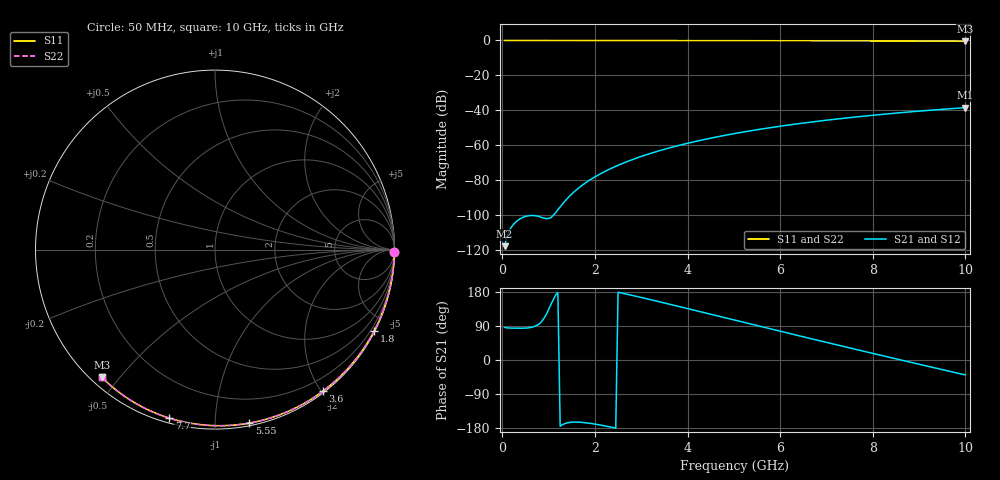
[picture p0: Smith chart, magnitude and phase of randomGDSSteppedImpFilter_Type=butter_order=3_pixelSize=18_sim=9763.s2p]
! freq	dB(S11)	phase(S11)	dB(S12)	phase(S12)
!  dB(S21)	phase(S21)	dB(S22)	phase(S22)
!S-par simulation data
#  GHz  S  DB  R 50
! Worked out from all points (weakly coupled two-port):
!   200 points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, 50 MHz to 10 GHz, reference 50 ohm
!   highest |S21| = -38.41 dB at 10 GHz (marker M1); lowest = -117.6 dB at 50 MHz (marker M2)
!   lowest |S11| = -0.4 dB at 10 GHz (marker M3), VSWR 39.33, Z = 1.53 - j22.5 ohm
!   |S11| at or under -10 dB: nowhere
!   |S22| runs from -0.4 to 0.0 dB; largest |S21 - S12| = 0
!   S11 on the Smith chart (normalised r, x): 50 MHz: open; 1.8 GHz: 0.04, -4.17; 3.6 GHz: 0.02, -2.02; 5.55 GHz: 0.02, -1.22; 7.7 GHz: 0.02, -0.76; 10 GHz: 0.03, -0.45
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0.05  -0.00 -0.8  -117.64 86.4  -117.64 86.4  -0.00 -0.8
0.9  -0.02 -13.6  -101.62 110.1  -101.62 110.1  -0.02 -13.6
1.75  -0.03 -26.2  -82.33 -165.0  -82.33 -165.0  -0.03 -26.2
1.8  -0.03 -27.0  -81.39 -165.6  -81.39 -165.6  -0.03 -27.0
1.85  -0.04 -27.7  -80.49 -166.4  -80.49 -166.4  -0.04 -27.7
1.9  -0.04 -28.4  -79.64 -167.2  -79.64 -167.2  -0.04 -28.4
2.05  -0.04 -30.6  -77.25 -170.2  -77.25 -170.2  -0.04 -30.6
2.25  -0.04 -33.5  -74.45 -174.8  -74.45 -174.8  -0.04 -33.5
2.45  -0.05 -36.4  -71.97 -179.8  -71.97 -179.8  -0.05 -36.4
2.65  -0.05 -39.3  -69.74 174.8  -69.74 174.8  -0.05 -39.3
3  -0.06 -44.3  -66.33 165.0  -66.33 165.0  -0.06 -44.3
3.4  -0.07 -49.9  -62.99 153.5  -62.99 153.5  -0.07 -49.9
3.6  -0.07 -52.7  -61.50 147.6  -61.50 147.6  -0.07 -52.7
4.3  -0.09 -62.3  -56.99 126.7  -56.99 126.7  -0.09 -62.3
5.05  -0.11 -72.3  -53.07 104.3  -53.07 104.3  -0.11 -72.3
5.55  -0.13 -78.8  -50.84 89.4  -50.84 89.4  -0.13 -78.8
6.1  -0.15 -85.7  -48.66 73.0  -48.66 73.0  -0.15 -85.7
6.7  -0.18 -93.2  -46.56 55.3  -46.56 55.3  -0.18 -93.2
7.7  -0.24 -105.2  -43.57 26.1  -43.57 26.1  -0.24 -105.2
8.35  -0.29 -112.8  -41.90 7.3  -41.90 7.3  -0.29 -112.8
9.15  -0.36 -122.0  -40.09 -15.5  -40.09 -15.5  -0.36 -122.0
10  -0.44 -131.6  -38.41 -39.4  -38.41 -39.4  -0.44 -131.6
